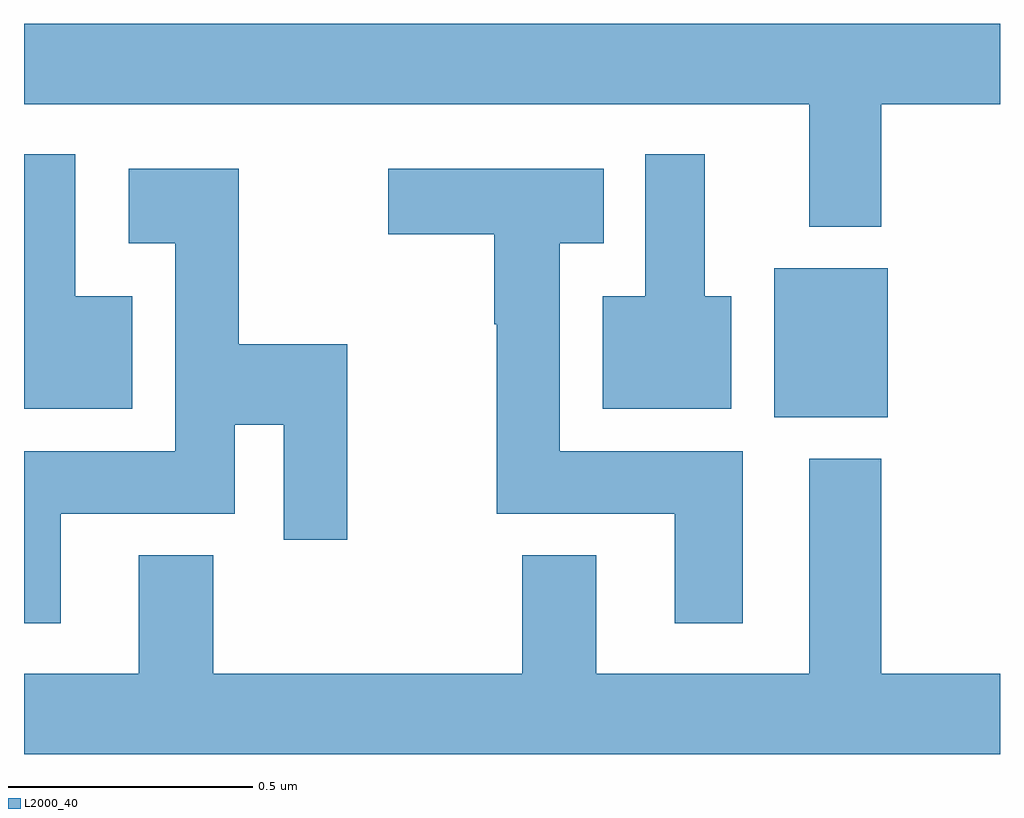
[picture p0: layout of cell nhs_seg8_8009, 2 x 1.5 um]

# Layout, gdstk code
import gdstk
lib = gdstk.Library(unit=1e-6, precision=1e-09)
def R(c, l, rs):  # rectangles x0, y0, x1, y1
    for r in rs: c.add(gdstk.rectangle(r[:2], r[2:], *l))
def P(c, l, *ps):  # polygons
    for p in ps: c.add(gdstk.Polygon(p, *l))
L2000_40 = (2000, 40)

nhs_seg8_8009 = lib.new_cell('nhs_seg8_8009')
R(nhs_seg8_8009, L2000_40, [(218.537,1135.838,218.77,1136.143)])
P(nhs_seg8_8009, L2000_40, [(218.757,1136.48),(219,1136.48),(219,1136.644),(217,1136.644),(217,1136.48),(218.609,1136.48),(218.609,1136.228),(218.757,1136.228)],
  [(218.449,1136.086),(218.395,1136.086),(218.395,1136.377),(218.273,1136.377),(218.273,1136.086),(218.186,1136.086),(218.186,1135.856),(218.449,1135.856)],
  [(217.222,1136.086),(217.105,1136.086),(217.105,1136.377),(217,1136.377),(217,1135.856),(217.222,1135.856)],
  [(218.473,1135.768),(218.098,1135.768),(218.098,1136.195),(218.188,1136.195),(218.188,1136.347),(217.746,1136.347),(217.746,1136.213),(217.964,1136.213),(217.964,1136.029),(217.969,1136.029),(217.969,1135.64),(218.333,1135.64),(218.333,1135.416),(218.473,1135.416)],
  [(217.075,1135.64),(217.432,1135.64),(217.432,1135.823),(217.532,1135.823),(217.532,1135.587),(217.662,1135.587),(217.662,1135.988),(217.44,1135.988),(217.44,1136.347),(217.215,1136.347),(217.215,1136.195),(217.31,1136.195),(217.31,1135.768),(217,1135.768),(217,1135.416),(217.075,1135.416)],
  [(219,1135.312),(218.757,1135.312),(218.757,1135.753),(218.609,1135.753),(218.609,1135.312),(218.173,1135.312),(218.173,1135.555),(218.021,1135.555),(218.021,1135.312),(217.388,1135.312),(217.388,1135.555),(217.235,1135.555),(217.235,1135.312),(217,1135.312),(217,1135.148),(219,1135.148)])

lib.write_gds('nhs_seg8_8009.gds')
